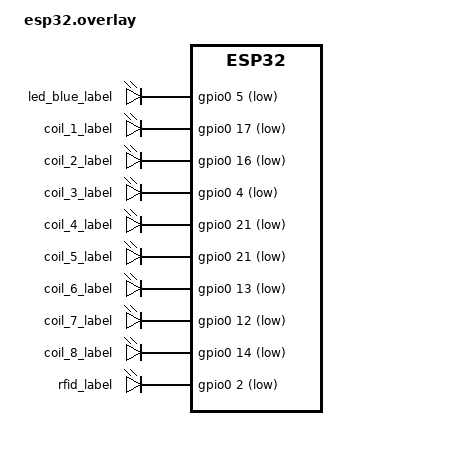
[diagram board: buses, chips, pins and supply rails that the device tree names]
/* ~/zephyrproject/zephyr/boards/xtensa/esp32 */
/* ~/zephyrproject/zephyr/soc/xtensa/esp32/ */
/* ~/zephyrproject/zephyr/dts/xtensa/espressif/esp32.dtsi */
/* ~/zephyrproject/zephyr/include/dt-bindings/gpio/gpio.h */
/* ~/zephyrproject/zephyr/drivers/gpio/gpio_esp32.c */
/* ~/zephyrproject/zephyr/drivers/pinmux/pinmux_esp32.c */
/* ~/zephyrproject/zephyr/dts/bindings/gpio/espressif,esp32-gpio.yaml */

/* dts: https://docs.zephyrproject.org/latest/build/dts/index.html */
/* pinmux: https://docs.opentitan.org/hw/ip/pinmux/doc/ */

/ {

  aliases {
    /*LedBlink*/
    led0 = &led_blue_label;
    /*Motor 1*/
    coil1alias = &coil_1_label; /*No se pueden colocar aliases con "_", solo se permiten caracteres del 0-9 y de la a-z*/
    coil2alias = &coil_2_label;
    coil3alias = &coil_3_label;
    coil4alias = &coil_4_label;

    /*Motor 2*/
    coil5alias = &coil_5_label;
    coil6alias = &coil_6_label;
    coil7alias = &coil_7_label;
    coil8alias = &coil_8_label;

    /*RFID*/
    rfid0alias = &rfid_label;
  };

  leds_node {
    /* ~/zephyrproject/zephyr/dts/bindings/gpio/gpio-leds.yaml */
    compatible = "gpio-leds";
    /*Blink para depurar*/
    led_blue_label: led_blue_node {
      gpios = <&gpio0 5 GPIO_ACTIVE_LOW>;
    };
  };
  /* Creando nodo para GPIO específico */
  my_gpio_node {
    /*Motor 1
    Segun KiCad (Esquematico)
      In1 -> GPIO 27
      In2 -> GPIO 26
      In3 -> GPIO 25
      In4 -> GPIO 33
    */
    compatible = "gpio-leds";
    coil_1_label: COIL1_NODE {
      gpios = <&gpio0 17 GPIO_ACTIVE_LOW>; // <-- este pin tiene problema prueba por ejemplo el 2 (Solucionado)
    }; /*Nos faltaban ; al finalizar las } jaja*/
    coil_2_label: COIL2_NODE {
      gpios = <&gpio0 16 GPIO_ACTIVE_LOW>; // <-- este pin tiene problema (Solucionado)
    };
    coil_3_label: COIL3_NODE {
      gpios = <&gpio0 4 GPIO_ACTIVE_LOW>; // <-- este pin tiene problema prueba por ejemplo el 4 (Solucionado)
    };
    coil_4_label: COIL4_NODE {
      gpios = <&gpio0 21 GPIO_ACTIVE_LOW>;
    };

  /*Motor 2
  Segun KiCad (Esquematico)
      In5 -> GPIO 15
      In6 -> GPIO 13
      In7 -> GPIO 12
      In8 -> GPIO 14
  */
  coil_5_label: COIL5_NODE {
      gpios = <&gpio0 21 GPIO_ACTIVE_LOW>;
    };
    coil_6_label: COIL6_NODE {
      gpios = <&gpio0 13 GPIO_ACTIVE_LOW>;
    };
    coil_7_label: COIL7_NODE {
      gpios = <&gpio0 12 GPIO_ACTIVE_LOW>;
    };
    coil_8_label: COIL8_NODE {
      gpios = <&gpio0 14 GPIO_ACTIVE_LOW>;
    };

    /*RFID*/
    rfid_label: RFID_NODE{
      gpios = <&gpio0 2 GPIO_ACTIVE_LOW>;
    };

  };
};
